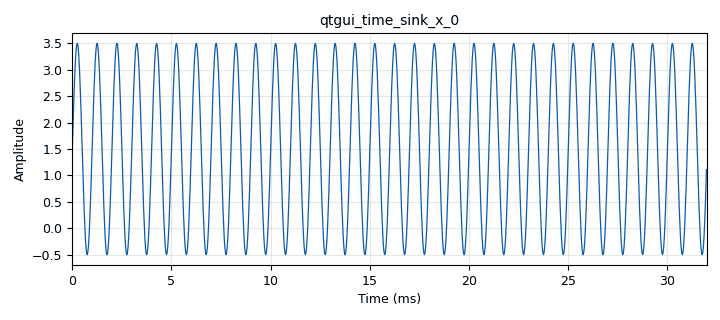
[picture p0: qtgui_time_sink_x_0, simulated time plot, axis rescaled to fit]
options:
  parameters:
    generate_options: qt_gui
    id: Praktikum1T2
    output_language: python
    title: Tugas 3
  states: {}

blocks:
- name: samp_rate
  id: variable
  parameters:
    value: '32000'
  states: {}
- name: analog_sig_source_x_0
  id: analog_sig_source_x
  parameters:
    amp: '1'
    freq: '1000'
    offset: offset_val
    phase: '0'
    samp_rate: samp_rate
    type: float
    waveform: analog.GR_SIN_WAVE
  states: {}
- name: analog_sig_source_x_0_0
  id: analog_sig_source_x
  parameters:
    amp: '1'
    freq: '1000'
    offset: offset_val
    phase: '0'
    samp_rate: samp_rate
    type: float
    waveform: analog.GR_SIN_WAVE
  states: {}
- name: blocks_add_const_vxx_0
  id: blocks_add_const_vxx
  parameters:
    const: offset_val
    type: float
  states: {}
- name: blocks_multiply_const_vxx_0
  id: blocks_multiply_const_vxx
  parameters:
    const: gain_val
    type: float
  states: {}
- name: blocks_throttle2_0
  id: blocks_throttle2
  parameters:
    samples_per_second: samp_rate
    type: float
  states: {}
- name: gain_val
  id: parameter
  parameters:
    label: gain
    type: eng_float
    value: '2'
  states: {}
- name: offset_val
  id: parameter
  parameters:
    label: offset
    type: eng_float
    value: '0.5'
  states: {}
- name: qtgui_time_sink_x_0
  id: qtgui_time_sink_x
  parameters:
    size: '1024'
    srate: samp_rate
    type: float
  states: {}
- name: qtgui_time_sink_x_0_0
  id: qtgui_time_sink_x
  parameters:
    size: '1024'
    srate: samp_rate
    type: float
  states: {}
- name: signal_conditioner_0
  id: signal_conditioner
  parameters:
    gain_val: '2'
    offset_val: '0.5'
    samp_rate: '32000'
  states: {}

connections:
- [analog_sig_source_x_0, '0', blocks_throttle2_0, '0']
- [analog_sig_source_x_0_0, '0', signal_conditioner_0, '0']
- [blocks_add_const_vxx_0, '0', qtgui_time_sink_x_0, '0']
- [blocks_multiply_const_vxx_0, '0', blocks_add_const_vxx_0, '0']
- [blocks_throttle2_0, '0', blocks_multiply_const_vxx_0, '0']
- [signal_conditioner_0, '0', qtgui_time_sink_x_0_0, '0']

metadata:
  file_format: 1
  grc_version: 3.10.12.0
